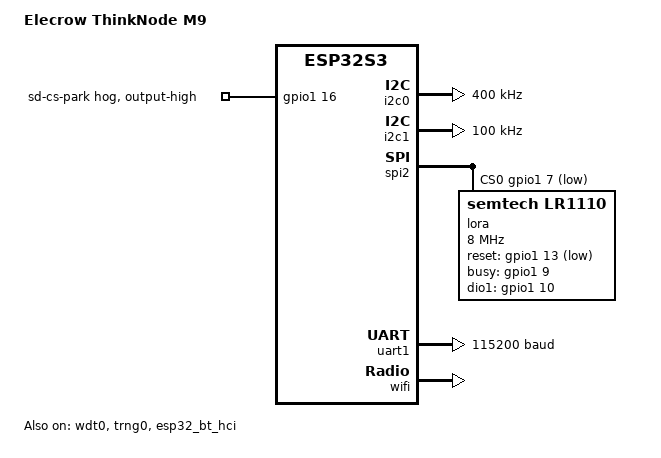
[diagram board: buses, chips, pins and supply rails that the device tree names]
/*
 * SPDX-License-Identifier: MIT
 * Elecrow ThinkNode M9 — ESP32-S3, 16MB flash, 8MB PSRAM
 *
 * Hardware:
 *   MCU:     ESP32-S3-WROOM-1 (Xtensa LX7, dual-core @ 160 MHz)
 *   Flash:   16 MB
 *   PSRAM:   8 MB (OPI) — module variant assumed N16R8, verify at bring-up
 *   Radio:   Semtech LR1110 on shared SPI2 (TCXO 3.3V, DIO5/DIO6 RF switch)
 *   Display: ST7789 320x240 TFT on shared SPI2 (defined in board.overlay)
 *   GPS:     CC1167Q (Unicore family; NOT the L76K MeshCore's variant.h
 *            claims) on UART1 @ 115200
 *   RTC:     PCF8563 @ 0x51 on I2C0
 *   Console: Native USB Serial/JTAG (main firmware reroutes to uart0 and
 *            gives the USB port to the OTG companion transport — see
 *            board.overlay).
 *
 * The LR1110 node lives HERE (not board.overlay) so the standalone
 * tools/lr1110_updater build — which replaces board.overlay with its own
 * minimal overlay — still sees the radio.
 */

/dts-v1/;

#include <espressif/esp32s3/esp32s3_wroom_n16r8.dtsi>
#include "thinknode_m9-pinctrl.dtsi"
#include <espressif/partitions_0x0_default_16M.dtsi>

/ {
	model = "Elecrow ThinkNode M9";
	compatible = "elecrow,thinknode-m9";

	/* No zephyr,console here: the M9's USB-C data lines ride a CH9102-class
	 * USB-UART bridge into UART0 (verified on hardware — the native USB
	 * Serial/JTAG console produced no output). The S3's native USB pads
	 * (GPIO19/20) are not wired to the connector at all; GPIO20/21 carry the
	 * STC8H keypad I2C bus instead. Every build of this board (app overlay
	 * and lr1110_updater overlay alike) routes console + shell to uart0 via
	 * boards/common/esp32s3_console_uart0.dtsi. */
	chosen {
		zephyr,sram = &sram1;
		zephyr,flash = &flash0;
		zephyr,code-partition = &slot0_partition;
		zephyr,bt-hci = &esp32_bt_hci;
	};

	aliases {
		uart-0 = &uart0;
		i2c-0 = &i2c0;
		watchdog0 = &wdt0;
		lora0 = &lora;
	};
};

/* 240 MHz — matches every other ESP32-S3 board in the tree (xiao_esp32s3,
 * station_g2, heltec_*).  This was 160 MHz with the comment "HAL Kconfig
 * minimum supported", which is not correct: hal/espressif/zephyr/Kconfig
 * derives ESP_DEFAULT_CPU_FREQ_MHZ straight from this DT property and offers
 * 96/120/160/240 with no floor at 160.  Nothing on this board requires the
 * lower clock (the octal PSRAM runs at 40 MHz off its own divider, and
 * station_g2 pairs the same OPI PSRAM with 240 MHz).
 *
 * Kept deliberate rather than "faster is better": the node is event-driven and
 * idles in k_event_wait almost always, so race-to-idle makes the clock a weak
 * lever on battery life, while the 320x240 colour panel is the one genuinely
 * CPU-bound consumer.  240 also removes this board's only timing anomaly,
 * which matters while the CPU-jitter entropy source is under investigation
 * (jitter health check failed here — see memory/findings.md). */
/* USB Serial/JTAG stays disabled (SoC default): its PHY pads are GPIO19/20,
 * and on this board GPIO20 is the keypad's I2C1 SDA. The USJ driver's init
 * re-attaches the USB pad (usb_serial_jtag_ll_phy_enable_pad) and enables the
 * D+ pull-up, fighting the keypad bus. Native USB is unbonded from the
 * connector anyway — see the chosen-node comment. */

&i2c0 {
	status = "okay";
	clock-frequency = <I2C_BITRATE_FAST>;
	pinctrl-0 = <&i2c0_default>;
	pinctrl-names = "default";
};

/*
 * I2C1 — STC8H keypad helper MCU @0x6C (GPIO20 SDA / GPIO21 SCL).
 *
 * This board has NO user button at hardware level, so the keypad is its only
 * input device: without it the UI renders but cannot be operated. The keypad
 * node itself lives in board.overlay alongside the rest of the app hookup.
 */
&i2c1 {
	status = "okay";
	clock-frequency = <I2C_BITRATE_STANDARD>;
	pinctrl-0 = <&i2c1_default>;
	pinctrl-names = "default";
};

&spi2 {
	status = "okay";
	#address-cells = <1>;
	#size-cells = <0>;
	pinctrl-0 = <&spim2_default>;
	pinctrl-names = "default";

	/* CS 0 = LR1110 NSS (GPIO39), CS 1 = ST7789 TFT (GPIO16).
	 * The TFT itself is declared in board.overlay (mipi-dbi child @1). */
	cs-gpios = <&gpio1 7 GPIO_ACTIVE_LOW>,
		   <&gpio0 16 GPIO_ACTIVE_LOW>;

	lora: lora@0 {
		compatible = "semtech,lr1110";
		reg = <0>;
		spi-max-frequency = <8000000>;

		reset-gpios = <&gpio1 13 GPIO_ACTIVE_LOW>;               /* GPIO45 */
		busy-gpios  = <&gpio1 9 GPIO_ACTIVE_HIGH>;               /* GPIO41 */
		dio1-gpios  = <&gpio1 10 (GPIO_PULL_DOWN | GPIO_ACTIVE_HIGH)>; /* GPIO42 */

		/* TCXO 3.3V via DIO3 (Arduino LR11X0_DIO3_TCXO_VOLTAGE=3.3) */
		tcxo-voltage-mv = <3300>;
		tcxo-startup-delay-ms = <5>;

		/* +3dB RX sensitivity for +2mA — deliberate divergence from the
		 * Arduino variant, which leaves boosted gain off (looks like an
		 * oversight; T1000-E and every other ZephCore LR1110 board use it). */
		rx-boosted;

		/* RF switch truth table from Arduino rfswitch_table[]:
		 * bit0 = DIO5, bit1 = DIO6.
		 *   STBY: DIO5=L DIO6=L   RX:    DIO5=H DIO6=L
		 *   TX:   DIO5=H DIO6=H   TX_HP: DIO5=L DIO6=H
		 * (MODE_TX = low-power PA path, MODE_TX_HP = high-power PA path) */
		rfswitch-enable = <0x03>;
		rfswitch-standby = <0x00>;
		rfswitch-rx = <0x01>;
		rfswitch-tx = <0x03>;
		rfswitch-tx-hp = <0x02>;
		rfswitch-gnss = <0x00>;
	};
};

/* GPS — 115200 baud (the macro Arduino MeshCore actually consumes; the
 * variant.h 9600 value is a dead macro).  GNSS driver node + enable/reset
 * pins live in board.overlay. */
&uart1 {
	status = "okay";
	current-speed = <115200>;
	pinctrl-0 = <&uart1_default>;
	pinctrl-names = "default";
};

&gpio0 { status = "okay"; };

&gpio1 {
	status = "okay";

	/* Park the SD card's CS (GPIO48) HIGH (deselected — the CS itself is
	 * active-low). The SD slot shares SPI2 with the LR1110 and the TFT but
	 * has no Zephyr driver; left floating, an inserted card could drive MISO
	 * and corrupt radio/display transfers. Also protects the standalone
	 * lr1110_updater (this hog lives in the base DTS). */
	sd-cs-park {
		gpio-hog;
		gpios = <16 GPIO_ACTIVE_HIGH>;	/* GPIO48 */
		output-high;			/* physical HIGH = deselected */
	};
};
&wdt0 { status = "okay"; };
&trng0 { status = "okay"; };

&esp32_bt_hci {
	status = "okay";
};

&wifi {
	status = "okay";
};
